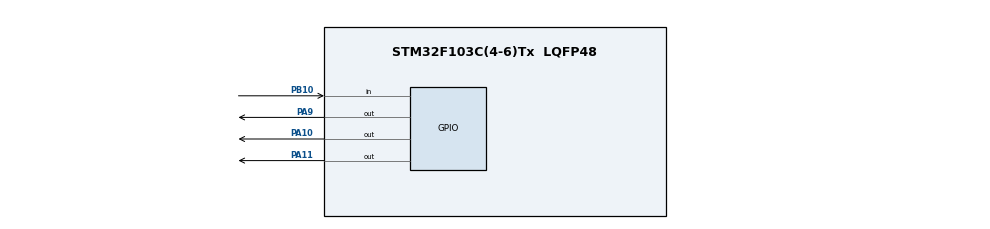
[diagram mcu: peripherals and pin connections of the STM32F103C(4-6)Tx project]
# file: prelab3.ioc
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Mcu.Family=STM32F1
Mcu.Name=STM32F103C(4-6)Tx
Mcu.Package=LQFP48
NVIC.PriorityGroup=NVIC_PRIORITYGROUP_4
PA10.Signal=GPIO_Output
PA11.Signal=GPIO_Output
PA9.Signal=GPIO_Output
PB10.GPIO_PuPd=GPIO_PULLDOWN
PB10.Signal=GPIO_Input
ProjectManager.HeapSize=0x200
ProjectManager.StackSize=0x400
ProjectManager.TargetToolchain=MDK-ARM V5.32
RCC.APB1Freq_Value=8000000
RCC.APB2Freq_Value=8000000
VP_SYS_VS_ND.Mode=No_Debug
board=custom

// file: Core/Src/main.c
/* USER CODE BEGIN Header */
/**
  ******************************************************************************
  * @file           : main.c
  * @brief          : Main program body
  ******************************************************************************
  * @attention
  *
  * Copyright (c) 2025 STMicroelectronics.
  * All rights reserved.
  *
  * This software is licensed under terms that can be found in the LICENSE file
  * in the root directory of this software component.
  * If no LICENSE file comes with this software, it is provided AS-IS.
  *
  ******************************************************************************
  */
/* USER CODE END Header */
#include "main.h"

void SystemClock_Config(void);
static void MX_GPIO_Init(void);

int main(void)
{

  /* MCU Configuration--------------------------------------------------------*/

  /* Reset of all peripherals, Initializes the Flash interface and the Systick. */
  HAL_Init();

  /* Configure the system clock */
  SystemClock_Config();

  /* Initialize all configured peripherals */
  MX_GPIO_Init();

  /* Infinite loop */
  /* USER CODE BEGIN WHILE */
	GPIO_PinState button_state= GPIO_PIN_RESET;
	GPIO_PinState last_button_state= GPIO_PIN_RESET;

	uint16_t counter = 0;

  while (1)
  {

		// Check button pressed
		last_button_state = button_state;
		button_state=	HAL_GPIO_ReadPin(GPIOB, GPIO_PIN_10);

		// Button is pressed
		if(button_state == last_button_state || button_state == GPIO_PIN_RESET) continue;

		// Turn led on/off
		last_button_state = button_state;
		counter++;

		GPIO_PinState bit_0, bit_1, bit_2;

		bit_0 = (counter & (uint16_t) 1) ? GPIO_PIN_SET : GPIO_PIN_RESET;
		bit_1 = (counter & (uint16_t) 2) ? GPIO_PIN_SET : GPIO_PIN_RESET;
		bit_2 = (counter & (uint16_t) 4) ? GPIO_PIN_SET : GPIO_PIN_RESET;

		HAL_GPIO_WritePin(GPIOA,GPIO_PIN_9, bit_0);
		HAL_GPIO_WritePin(GPIOA,GPIO_PIN_10, bit_1);
		HAL_GPIO_WritePin(GPIOA,GPIO_PIN_11, bit_2);

    /* USER CODE END WHILE */

  }
}

void SystemClock_Config(void)
{
  RCC_OscInitTypeDef RCC_OscInitStruct = {0};
  RCC_ClkInitTypeDef RCC_ClkInitStruct = {0};

  /** Initializes the RCC Oscillators according to the specified parameters
  * in the RCC_OscInitTypeDef structure.
  */
  RCC_OscInitStruct.OscillatorType = RCC_OSCILLATORTYPE_HSI;
  RCC_OscInitStruct.HSIState = RCC_HSI_ON;
  RCC_OscInitStruct.HSICalibrationValue = RCC_HSICALIBRATION_DEFAULT;
  RCC_OscInitStruct.PLL.PLLState = RCC_PLL_NONE;
  if (HAL_RCC_OscConfig(&RCC_OscInitStruct) != HAL_OK)
  {
    Error_Handler();
  }

  /** Initializes the CPU, AHB and APB buses clocks
  */
  RCC_ClkInitStruct.ClockType = RCC_CLOCKTYPE_HCLK|RCC_CLOCKTYPE_SYSCLK
                              |RCC_CLOCKTYPE_PCLK1|RCC_CLOCKTYPE_PCLK2;
  RCC_ClkInitStruct.SYSCLKSource = RCC_SYSCLKSOURCE_HSI;
  RCC_ClkInitStruct.AHBCLKDivider = RCC_SYSCLK_DIV1;
  RCC_ClkInitStruct.APB1CLKDivider = RCC_HCLK_DIV1;
  RCC_ClkInitStruct.APB2CLKDivider = RCC_HCLK_DIV1;

  if (HAL_RCC_ClockConfig(&RCC_ClkInitStruct, FLASH_LATENCY_0) != HAL_OK)
  {
    Error_Handler();
  }
}

static void MX_GPIO_Init(void)
{
  GPIO_InitTypeDef GPIO_InitStruct = {0};

  /* GPIO Ports Clock Enable */
  __HAL_RCC_GPIOB_CLK_ENABLE();
  __HAL_RCC_GPIOA_CLK_ENABLE();

  /*Configure GPIO pin Output Level */
  HAL_GPIO_WritePin(GPIOA, GPIO_PIN_9|GPIO_PIN_10|GPIO_PIN_11, GPIO_PIN_RESET);

  /*Configure GPIO pin : PB10 */
  GPIO_InitStruct.Pin = GPIO_PIN_10;
  GPIO_InitStruct.Mode = GPIO_MODE_INPUT;
  GPIO_InitStruct.Pull = GPIO_PULLDOWN;
  HAL_GPIO_Init(GPIOB, &GPIO_InitStruct);

  /*Configure GPIO pins : PA9 PA10 PA11 */
  GPIO_InitStruct.Pin = GPIO_PIN_9|GPIO_PIN_10|GPIO_PIN_11;
  GPIO_InitStruct.Mode = GPIO_MODE_OUTPUT_PP;
  GPIO_InitStruct.Pull = GPIO_NOPULL;
  GPIO_InitStruct.Speed = GPIO_SPEED_FREQ_LOW;
  HAL_GPIO_Init(GPIOA, &GPIO_InitStruct);

}

void Error_Handler(void)
{
  __disable_irq();
  while (1)
  {
  }
}
